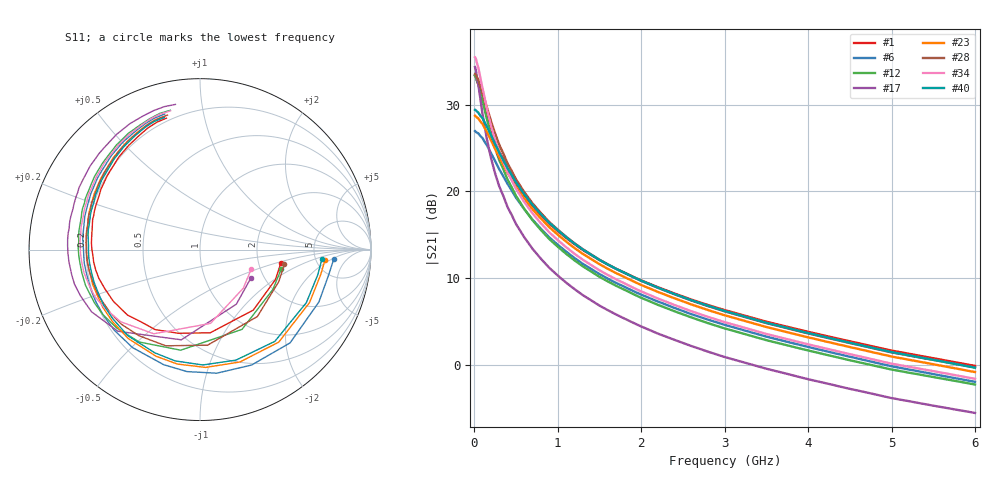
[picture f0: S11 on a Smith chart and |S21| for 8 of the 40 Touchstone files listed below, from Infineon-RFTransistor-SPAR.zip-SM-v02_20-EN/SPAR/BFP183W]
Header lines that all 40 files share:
! Infineon Technologies  Discrete & RF Semiconductors
! BFP183W
! Common Emitter S-Parameters:  Jan 2017
# GHz  S  MA  R  50
!  f  S11  S21  S12  S22
! GHz  MAG  ANG  MAG  ANG  MAG  ANG  MAG  ANG
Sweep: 10 MHz to 6 GHz
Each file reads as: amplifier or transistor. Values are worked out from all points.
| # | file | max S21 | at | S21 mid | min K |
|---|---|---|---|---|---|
| 1 | BFP183W_VCE_11.V_IC_39mA.s2p | 33.3 dB | 10 MHz | 9.0 dB at 2.2 GHz | 0.38 |
| 2 | BFP183W_VCE_11.V_IC_40mA.s2p | 33.2 dB | 10 MHz | 8.8 dB at 2.2 GHz | 0.40 |
| 3 | BFP183W_VCE_12.V_IC_37mA.s2p | 32.3 dB | 10 MHz | 8.6 dB at 2.2 GHz | 0.45 |
| 4 | BFP183W_w_noise_VCE_1.0V_IC_2.0mA.s2p | 17.2 dB | 10 MHz | 4.1 dB at 2.2 GHz | -0.04 |
| 5 | BFP183W_w_noise_VCE_1.0V_IC_4.0mA.s2p | 22.8 dB | 10 MHz | 6.2 dB at 2.2 GHz | -0.05 |
| 6 | BFP183W_w_noise_VCE_1.0V_IC_7.0mA.s2p | 27.0 dB | 10 MHz | 7.3 dB at 2.2 GHz | -0.03 |
| 7 | BFP183W_w_noise_VCE_1.0V_IC_9.0mA.s2p | 28.7 dB | 10 MHz | 7.6 dB at 2.2 GHz | 0.01 |
| 8 | BFP183W_w_noise_VCE_1.0V_IC_10mA.s2p | 29.4 dB | 10 MHz | 7.7 dB at 2.2 GHz | 0.05 |
| 9 | BFP183W_w_noise_VCE_1.0V_IC_13mA.s2p | 31.1 dB | 10 MHz | 7.8 dB at 2.2 GHz | 0.04 |
| 10 | BFP183W_w_noise_VCE_1.0V_IC_15mA.s2p | 31.9 dB | 10 MHz | 7.7 dB at 2.2 GHz | 0.08 |
| 11 | BFP183W_w_noise_VCE_1.0V_IC_17mA.s2p | 32.6 dB | 10 MHz | 7.5 dB at 2.2 GHz | 0.12 |
| 12 | BFP183W_w_noise_VCE_1.0V_IC_20mA.s2p | 33.3 dB | 10 MHz | 7.0 dB at 2.2 GHz | 0.15 |
| 13 | BFP183W_w_noise_VCE_1.0V_IC_22mA.s2p | 33.7 dB | 10 MHz | 6.4 dB at 2.2 GHz | 0.18 |
| 14 | BFP183W_w_noise_VCE_1.0V_IC_24mA.s2p | 33.9 dB | 10 MHz | 5.8 dB at 2.2 GHz | 0.20 |
| 15 | BFP183W_w_noise_VCE_1.0V_IC_25mA.s2p | 34.0 dB | 10 MHz | 5.4 dB at 2.2 GHz | 0.21 |
| 16 | BFP183W_w_noise_VCE_1.0V_IC_28mA.s2p | 34.3 dB | 10 MHz | 4.4 dB at 2.2 GHz | 0.25 |
| 17 | BFP183W_w_noise_VCE_1.0V_IC_30mA.s2p | 34.3 dB | 10 MHz | 3.6 dB at 2.2 GHz | 0.28 |
| 18 | BFP183W_w_noise_VCE_1.0V_IC_33mA.s2p | 34.4 dB | 10 MHz | 2.7 dB at 2.2 GHz | 0.32 |
| 19 | BFP183W_w_noise_VCE_1.0V_IC_35mA.s2p | 34.3 dB | 10 MHz | 2.1 dB at 2.2 GHz | 0.34 |
| 20 | BFP183W_w_noise_VCE_2.0V_IC_2.0mA.s2p | 17.2 dB | 10 MHz | 4.6 dB at 2.2 GHz | -0.05 |
| 21 | BFP183W_w_noise_VCE_2.0V_IC_4.0mA.s2p | 22.8 dB | 10 MHz | 6.8 dB at 2.2 GHz | -0.07 |
| 22 | BFP183W_w_noise_VCE_2.0V_IC_7.0mA.s2p | 27.0 dB | 10 MHz | 8.1 dB at 2.2 GHz | -0.11 |
| 23 | BFP183W_w_noise_VCE_2.0V_IC_9.0mA.s2p | 28.7 dB | 10 MHz | 8.4 dB at 2.2 GHz | -0.02 |
| 24 | BFP183W_w_noise_VCE_2.0V_IC_10mA.s2p | 29.4 dB | 10 MHz | 8.6 dB at 2.2 GHz | -0.03 |
| 25 | BFP183W_w_noise_VCE_2.0V_IC_13mA.s2p | 31.1 dB | 10 MHz | 8.8 dB at 2.2 GHz | 0.04 |
| 26 | BFP183W_w_noise_VCE_2.0V_IC_15mA.s2p | 31.9 dB | 10 MHz | 8.9 dB at 2.2 GHz | 0.05 |
| 27 | BFP183W_w_noise_VCE_2.0V_IC_17mA.s2p | 32.6 dB | 10 MHz | 8.9 dB at 2.2 GHz | 0.07 |
| 28 | BFP183W_w_noise_VCE_2.0V_IC_20mA.s2p | 33.5 dB | 10 MHz | 8.9 dB at 2.2 GHz | 0.05 |
| 29 | BFP183W_w_noise_VCE_2.0V_IC_22mA.s2p | 34.0 dB | 10 MHz | 8.9 dB at 2.2 GHz | 0.13 |
| 30 | BFP183W_w_noise_VCE_2.0V_IC_24mA.s2p | 34.4 dB | 10 MHz | 8.7 dB at 2.2 GHz | 0.14 |
| 31 | BFP183W_w_noise_VCE_2.0V_IC_25mA.s2p | 34.5 dB | 10 MHz | 8.7 dB at 2.2 GHz | 0.15 |
| 32 | BFP183W_w_noise_VCE_2.0V_IC_28mA.s2p | 35.0 dB | 10 MHz | 8.4 dB at 2.2 GHz | 0.15 |
| 33 | BFP183W_w_noise_VCE_2.0V_IC_30mA.s2p | 35.2 dB | 10 MHz | 8.2 dB at 2.2 GHz | 0.18 |
| 34 | BFP183W_w_noise_VCE_2.0V_IC_33mA.s2p | 35.4 dB | 10 MHz | 7.7 dB at 2.2 GHz | 0.20 |
| 35 | BFP183W_w_noise_VCE_2.0V_IC_35mA.s2p | 35.6 dB | 10 MHz | 7.3 dB at 2.2 GHz | 0.23 |
| 36 | BFP183W_w_noise_VCE_3.0V_IC_2.0mA.s2p | 17.2 dB | 10 MHz | 4.8 dB at 2.2 GHz | -0.14 |
| 37 | BFP183W_w_noise_VCE_3.0V_IC_4.0mA.s2p | 22.8 dB | 10 MHz | 7.1 dB at 2.2 GHz | -0.15 |
| 38 | BFP183W_w_noise_VCE_3.0V_IC_7.0mA.s2p | 26.9 dB | 10 MHz | 8.4 dB at 2.2 GHz | -0.01 |
| 39 | BFP183W_w_noise_VCE_3.0V_IC_9.0mA.s2p | 28.7 dB | 10 MHz | 8.8 dB at 2.2 GHz | -0.02 |
| 40 | BFP183W_w_noise_VCE_3.0V_IC_10mA.s2p | 29.4 dB | 10 MHz | 8.9 dB at 2.2 GHz | 0.04 |

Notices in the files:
Hoja de datos/BFP 450/Infineon-RFTransistor-SPAR.zip-SM-v02_20-EN/SPAR/BFP183W/BFP183W_VCE_11.V_IC_39mA.s2p:
(c) 2017  Infineon Technologies AG, Munich
